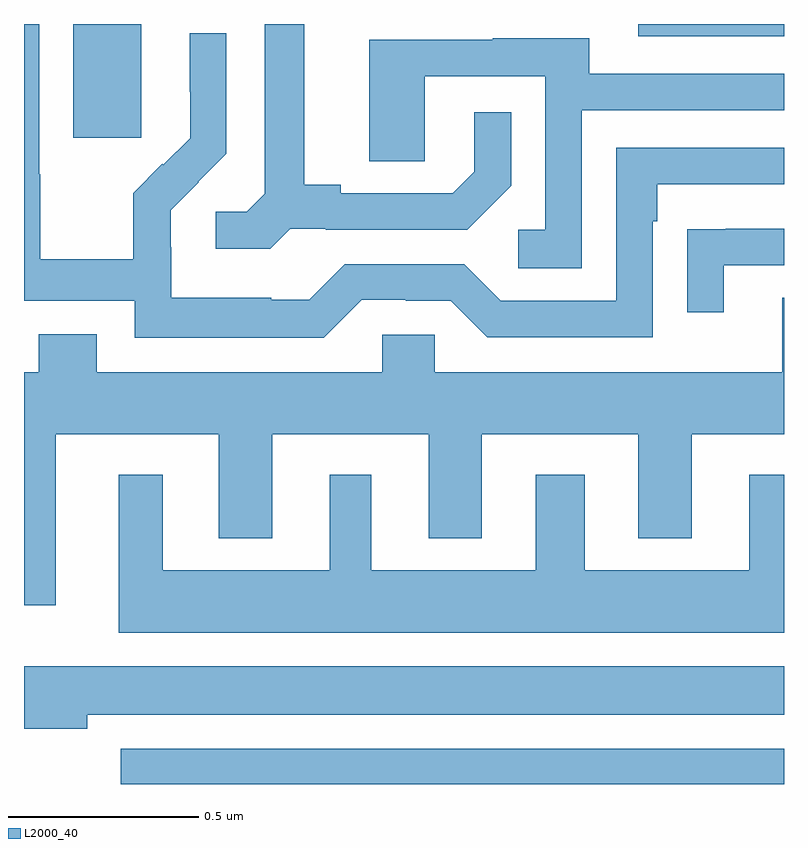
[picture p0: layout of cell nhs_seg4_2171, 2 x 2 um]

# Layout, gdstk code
import gdstk
lib = gdstk.Library(unit=1e-6, precision=1e-09)
def R(c, l, rs):  # rectangles x0, y0, x1, y1
    for r in rs: c.add(gdstk.rectangle(r[:2], r[2:], *l))
def P(c, l, *ps):  # polygons
    for p in ps: c.add(gdstk.Polygon(p, *l))
L2000_40 = (2000, 40)

nhs_seg4_2171 = lib.new_cell('nhs_seg4_2171')
R(nhs_seg4_2171, L2000_40, [(137.255,795.9,139,795.993), (137.129,797.601,137.308,797.9), (138.617,797.868,139,797.9)])
P(nhs_seg4_2171, L2000_40, [(137.7,797.361),(137.794,797.361),(137.794,797.358),(138.166,797.358),(138.282,797.474),(138.282,797.668),(138.185,797.668),(138.185,797.511),(138.128,797.454),(137.833,797.454),(137.833,797.477),(137.737,797.477),(137.737,797.9),(137.633,797.9),(137.633,797.453),(137.586,797.406),(137.505,797.406),(137.505,797.309),(137.648,797.309)],
  [(137.889,797.175),(138.005,797.175),(138.005,797.172),(138.123,797.172),(138.219,797.076),(138.654,797.076),(138.654,797.381),(138.667,797.381),(138.667,797.478),(139,797.478),(139,797.574),(138.558,797.574),(138.558,797.172),(138.255,797.172),(138.159,797.268),(137.844,797.268),(137.751,797.175),(137.651,797.175),(137.651,797.179),(137.388,797.179),(137.388,797.313),(137.386,797.313),(137.386,797.41),(137.46,797.484),(137.459,797.485),(137.532,797.558),(137.532,797.876),(137.436,797.876),(137.436,797.722),(137.438,797.722),(137.438,797.6),(137.367,797.529),(137.364,797.532),(137.287,797.455),(137.287,797.281),(137.043,797.281),(137.043,797.504),(137.04,797.504),(137.04,797.9),(137,797.9),(137,797.172),(137.292,797.172),(137.292,797.075),(137.789,797.075)],
  [(138.468,797.673),(139,797.673),(139,797.769),(138.487,797.769),(138.487,797.863),(138.233,797.863),(138.233,797.859),(137.909,797.859),(137.909,797.539),(138.054,797.539),(138.054,797.763),(138.372,797.763),(138.372,797.358),(138.3,797.358),(138.3,797.257),(138.468,797.257)],
  [(138.841,797.265),(139,797.265),(139,797.361),(138.847,797.361),(138.847,797.36),(138.745,797.36),(138.745,797.142),(138.841,797.142)],
  [(137.083,796.82),(137.513,796.82),(137.513,796.547),(137.653,796.547),(137.653,796.82),(138.065,796.82),(138.065,796.547),(138.205,796.547),(138.205,796.82),(138.617,796.82),(138.617,796.547),(138.757,796.547),(138.757,796.82),(139,796.82),(139,797.179),(138.995,797.179),(138.995,796.984),(138.081,796.984),(138.081,797.082),(137.943,797.082),(137.943,796.984),(137.191,796.984),(137.191,797.083),(137.039,797.083),(137.039,796.984),(137,796.984),(137,796.371),(137.083,796.371)],
  [(139,796.714),(138.908,796.714),(138.908,796.462),(138.475,796.462),(138.475,796.714),(138.347,796.714),(138.347,796.462),(137.914,796.462),(137.914,796.714),(137.804,796.714),(137.804,796.462),(137.365,796.462),(137.365,796.714),(137.249,796.714),(137.249,796.298),(139,796.298)],
  [(137.167,796.082),(139,796.082),(139,796.21),(137,796.21),(137,796.046),(137.167,796.046)])

lib.write_gds('nhs_seg4_2171.gds')
